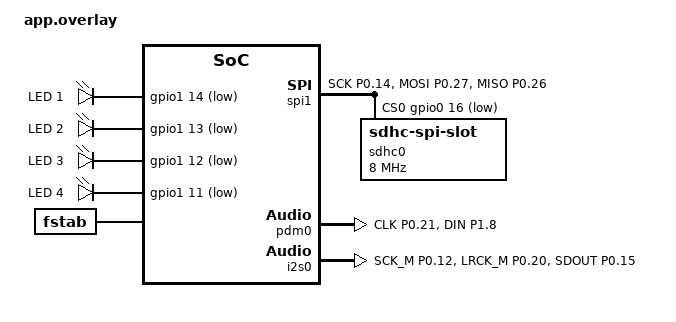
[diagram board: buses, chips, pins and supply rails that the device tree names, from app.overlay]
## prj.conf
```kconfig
CONFIG_GPIO=y
CONFIG_SPI=y
CONFIG_DISK_ACCESS=y
CONFIG_DISK_DRIVER_SDMMC=y
CONFIG_FILE_SYSTEM=y
CONFIG_FILE_SYSTEM_MKFS=y
CONFIG_FAT_FILESYSTEM_ELM=y
CONFIG_FS_FATFS_LFN=y
CONFIG_SDMMC_STACK=y
CONFIG_AUDIO=y
CONFIG_AUDIO_DMIC=y
CONFIG_I2S=y
CONFIG_I2S_NRFX=y
CONFIG_CLOCK_CONTROL_NRF=y
CONFIG_PRINTK=y
CONFIG_MAIN_STACK_SIZE=6144
CONFIG_HEAP_MEM_POOL_SIZE=8192
```

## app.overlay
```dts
#include <zephyr/dt-bindings/gpio/gpio.h>
#include <zephyr/dt-bindings/pinctrl/nrf-pinctrl.h>

/ {
	aliases {
		led0 = &led1;
		led1 = &led2;
		led2 = &led3;
		led3 = &led4;
		i2s-tx = &i2s0;
		sdhc0 = &sdhc0;
	};

	leds {
		compatible = "gpio-leds";

		led1: led_1 {
			gpios = <&gpio1 14 GPIO_ACTIVE_LOW>;
			label = "LED 1";
		};

		led2: led_2 {
			gpios = <&gpio1 13 GPIO_ACTIVE_LOW>;
			label = "LED 2";
		};

		led3: led_3 {
			gpios = <&gpio1 12 GPIO_ACTIVE_LOW>;
			label = "LED 3";
		};

		led4: led_4 {
			gpios = <&gpio1 11 GPIO_ACTIVE_LOW>;
			label = "LED 4";
		};
	};

	fstab {
		compatible = "zephyr,fstab";

		ffs1: ffs1 {
			compatible = "zephyr,fstab,fatfs";
			automount;
			disk-access;
			mount-point = "/SD:";
		};
	};
};

&pinctrl {
	spi1_default: spi1_default {
		group1 {
			psels = <NRF_PSEL(SPIM_SCK, 0, 14)>,
				<NRF_PSEL(SPIM_MOSI, 0, 27)>,
				<NRF_PSEL(SPIM_MISO, 0, 26)>;
		};
	};

	spi1_sleep: spi1_sleep {
		group1 {
			psels = <NRF_PSEL(SPIM_SCK, 0, 14)>,
				<NRF_PSEL(SPIM_MOSI, 0, 27)>,
				<NRF_PSEL(SPIM_MISO, 0, 26)>;
			low-power-enable;
		};
	};

	pdm0_default: pdm0_default {
		group1 {
			psels = <NRF_PSEL(PDM_CLK, 0, 21)>,
				<NRF_PSEL(PDM_DIN, 1, 8)>;
		};
	};

	pdm0_sleep: pdm0_sleep {
		group1 {
			psels = <NRF_PSEL(PDM_CLK, 0, 21)>,
				<NRF_PSEL(PDM_DIN, 1, 8)>;
			low-power-enable;
		};
	};

	i2s0_default: i2s0_default {
		group1 {
			psels = <NRF_PSEL(I2S_SCK_M, 0, 12)>,
				<NRF_PSEL(I2S_LRCK_M, 0, 20)>,
				<NRF_PSEL(I2S_SDOUT, 0, 15)>;
		};
	};

	i2s0_sleep: i2s0_sleep {
		group1 {
			psels = <NRF_PSEL(I2S_SCK_M, 0, 12)>,
				<NRF_PSEL(I2S_LRCK_M, 0, 20)>,
				<NRF_PSEL(I2S_SDOUT, 0, 15)>;
			low-power-enable;
		};
	};
};

&spi1 {
	status = "okay";
	pinctrl-0 = <&spi1_default>;
	pinctrl-1 = <&spi1_sleep>;
	pinctrl-names = "default", "sleep";
	cs-gpios = <&gpio0 16 GPIO_ACTIVE_LOW>;

	sdhc0: sdhc@0 {
		compatible = "zephyr,sdhc-spi-slot";
		reg = <0>;
		status = "okay";
		spi-max-frequency = <8000000>;

		mmc {
			compatible = "zephyr,sdmmc-disk";
			status = "okay";
			disk-name = "SD";
		};
	};
};

&pdm0 {
	status = "okay";
	pinctrl-0 = <&pdm0_default>;
	pinctrl-1 = <&pdm0_sleep>;
	pinctrl-names = "default", "sleep";
	clock-source = "PCLK32M_HFXO";
	queue-size = <4>;
};

&i2s0 {
	status = "okay";
	pinctrl-0 = <&i2s0_default>;
	pinctrl-1 = <&i2s0_sleep>;
	pinctrl-names = "default", "sleep";
};
```

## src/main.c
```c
#include <errno.h>
#include <stdbool.h>
#include <stdint.h>
#include <stdio.h>

#include <zephyr/kernel.h>
#include <zephyr/sys/util.h>

#include "PDM.h"
#include "Playback.h"
#include "app_config.h"
#include "led.h"

#define STARTUP_HOLD_MS 3000U
#define STATUS_BLINK_ON_MS 150U
#define STATUS_BLINK_OFF_MS 150U

typedef struct {
	uint32_t duration_ms;
	int64_t started_at;
} timed_stop_context_t;

static volatile bool blink_active;
static volatile uint8_t blinking_led;
K_THREAD_STACK_DEFINE(status_blink_stack, 512);
static struct k_thread status_blink_thread;

static void status_blink_thread_entry(void *arg1, void *arg2, void *arg3)
{
	ARG_UNUSED(arg1);
	ARG_UNUSED(arg2);
	ARG_UNUSED(arg3);

	while (1) {
		if (blink_active) {
			(void)Led_Set_Only(blinking_led, start);
			k_sleep(K_MSEC(STATUS_BLINK_ON_MS));
			(void)Led_Set_Only(blinking_led, stop);
			k_sleep(K_MSEC(STATUS_BLINK_OFF_MS));
		} else {
			k_sleep(K_MSEC(20));
		}
	}
}

static void status_blink_start(uint8_t led_number)
{
	blinking_led = led_number;
	blink_active = true;
}

static void status_blink_stop(void)
{
	blink_active = false;
	k_sleep(K_MSEC(STATUS_BLINK_OFF_MS));
}

static bool timed_stop_requested(void *context)
{
	timed_stop_context_t *timed_context = context;

	if (timed_context == NULL) {
		return false;
	}

	return (k_uptime_get() - timed_context->started_at) >= timed_context->duration_ms;
}

static int run_loopback_mode(const app_config_t *config)
{
	timed_stop_context_t context = {
		.duration_ms = config->loopback_duration_ms,
		.started_at = k_uptime_get(),
	};

	status_blink_start(2U);
	return PDM_Live_Monitor_Until(config->sampling_rate,
				      timed_stop_requested,
				      &context);
}

static int run_playback_mode(const app_config_t *config)
{
	char file_path[80];

	(void)snprintf(file_path, sizeof(file_path), "/SD:/%s", config->audio_file_name);
	status_blink_start(3U);
	return Playback_Play_Wav(file_path, config->sampling_rate);
}

static int run_record_mode(const app_config_t *config)
{
	timed_stop_context_t context = {
		.duration_ms = (uint64_t)config->recording_duration_seconds * 1000U,
		.started_at = k_uptime_get(),
	};
	char file_path[80];

	(void)snprintf(file_path, sizeof(file_path), "/SD:/%s", config->recording_file_name);
	status_blink_start(1U);
	return PDM_Record_Stereo_Wav_Until(file_path,
					   config->sampling_rate,
					   timed_stop_requested,
					   &context);
}

static int run_configured_operation(const app_config_t *config)
{
	switch (config->mode) {
	case APP_MODE_RECORD:
		return run_record_mode(config);
	case APP_MODE_PLAYBACK:
		return run_playback_mode(config);
	case APP_MODE_LOOPBACK:
		return run_loopback_mode(config);
	default:
		return -EINVAL;
	}
}

int main(void)
{
	app_config_t config;
	int ret;

	(void)k_thread_create(&status_blink_thread,
			      status_blink_stack,
			      K_THREAD_STACK_SIZEOF(status_blink_stack),
			      status_blink_thread_entry,
			      NULL,
			      NULL,
			      NULL,
			      K_LOWEST_APPLICATION_THREAD_PRIO,
			      0,
			      K_NO_WAIT);

	ret = Led_Set_All(start);
	if (ret < 0) {
		Led_Blink_Forever(4U, STATUS_BLINK_ON_MS, STATUS_BLINK_OFF_MS);
	}

	k_sleep(K_MSEC(STARTUP_HOLD_MS));

	ret = App_Config_Load(&config);
	if (ret < 0) {
		Led_Blink_Forever(4U, STATUS_BLINK_ON_MS, STATUS_BLINK_OFF_MS);
	}

	ret = run_configured_operation(&config);
	status_blink_stop();
	if (ret < 0) {
		Led_Blink_Forever(4U, STATUS_BLINK_ON_MS, STATUS_BLINK_OFF_MS);
	}

	ret = Led_Set_All(start);
	if (ret < 0) {
		Led_Blink_Forever(4U, STATUS_BLINK_ON_MS, STATUS_BLINK_OFF_MS);
	}

	while (1) {
		k_sleep(K_SECONDS(1));
	}

	return 0;
}
```

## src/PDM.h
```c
#ifndef PDM_H
#define PDM_H

#include <stdbool.h>
#include <stdint.h>

typedef bool (*pdm_stop_cb_t)(void *context);

int PDM_Record_Stereo_Wav_Until(const char *file_path,
				uint32_t sample_rate,
				pdm_stop_cb_t stop_cb,
				void *context);
int PDM_Live_Monitor_Until(uint32_t sample_rate,
			   pdm_stop_cb_t stop_cb,
			   void *context);

#endif /* PDM_H */
```

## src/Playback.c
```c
#include <errno.h>
#include <stdbool.h>
#include <stddef.h>
#include <stdint.h>
#include <string.h>

#include <zephyr/device.h>
#include <zephyr/drivers/i2s.h>
#include <zephyr/fs/fs.h>
#include <zephyr/kernel.h>
#include <zephyr/sys/util.h>

#include "Playback.h"
#include "SD.h"

#define PLAYBACK_OUTPUT_CHANNELS 2U
#define PLAYBACK_WORD_SIZE 16U
#define PLAYBACK_BLOCK_FRAMES 1024U
#define PLAYBACK_BLOCK_COUNT 4U
#define PLAYBACK_BYTES_PER_SAMPLE sizeof(int16_t)
#define PLAYBACK_BLOCK_SIZE \
	(PLAYBACK_BLOCK_FRAMES * PLAYBACK_OUTPUT_CHANNELS * PLAYBACK_BYTES_PER_SAMPLE)

K_MEM_SLAB_DEFINE_STATIC(playback_tx_slab,
			 PLAYBACK_BLOCK_SIZE,
			 PLAYBACK_BLOCK_COUNT,
			 4);

static const struct device *playback_i2s_dev;
static bool playback_initialized;
static int16_t wav_read_buffer[PLAYBACK_BLOCK_FRAMES * PLAYBACK_OUTPUT_CHANNELS];

struct wav_chunk_header {
	char id[4];
	uint32_t size;
};

struct wav_fmt_chunk {
	uint16_t format_type;
	uint16_t channels;
	uint32_t sample_rate;
	uint32_t byterate;
	uint16_t block_align;
	uint16_t bits_per_sample;
};

struct wav_info {
	uint16_t channels;
	uint32_t sample_rate;
	uint16_t bits_per_sample;
	uint32_t data_size;
};

static int playback_configure(uint32_t sample_rate)
{
	struct i2s_config i2s_cfg = {
		.word_size = PLAYBACK_WORD_SIZE,
		.channels = PLAYBACK_OUTPUT_CHANNELS,
		.format = I2S_FMT_DATA_FORMAT_I2S,
		.frame_clk_freq = sample_rate,
		.block_size = PLAYBACK_BLOCK_SIZE,
		.timeout = 2000,
		.options = I2S_OPT_FRAME_CLK_MASTER | I2S_OPT_BIT_CLK_MASTER,
		.mem_slab = &playback_tx_slab,
	};

	return i2s_configure(playback_i2s_dev, I2S_DIR_TX, &i2s_cfg);
}

static int playback_queue_block(void *tx_block, bool *started, uint32_t *queued_blocks)
{
	int ret = i2s_write(playback_i2s_dev, tx_block, PLAYBACK_BLOCK_SIZE);

	if (ret < 0) {
		k_mem_slab_free(&playback_tx_slab, tx_block);
		return ret;
	}

	*queued_blocks += 1U;
	if (!(*started) && (*queued_blocks >= 2U)) {
		ret = i2s_trigger(playback_i2s_dev, I2S_DIR_TX, I2S_TRIGGER_START);
		if (ret < 0) {
			return ret;
		}

		*started = true;
	}

	return 0;
}

static int playback_finish(bool started, uint32_t queued_blocks)
{
	int ret;

	if (!started && (queued_blocks == 0U)) {
		return 0;
	}

	if (!started) {
		ret = i2s_trigger(playback_i2s_dev, I2S_DIR_TX, I2S_TRIGGER_START);
		if (ret < 0) {
			(void)i2s_trigger(playback_i2s_dev, I2S_DIR_TX, I2S_TRIGGER_DROP);
			return ret;
		}
	}

	ret = i2s_trigger(playback_i2s_dev, I2S_DIR_TX, I2S_TRIGGER_DRAIN);
	if (ret < 0) {
		(void)i2s_trigger(playback_i2s_dev, I2S_DIR_TX, I2S_TRIGGER_DROP);
		return ret;
	}

	return 0;
}

static int wav_skip_bytes(struct fs_file_t *file, uint32_t size)
{
	if (size == 0U) {
		return 0;
	}

	return fs_seek(file, (off_t)size, FS_SEEK_CUR);
}

static int wav_parse_header(struct fs_file_t *file, struct wav_info *info)
{
	struct {
		char riff[4];
		uint32_t overall_size;
		char wave[4];
	} header;
	bool fmt_found = false;
	bool data_found = false;
	ssize_t bytes_read;

	bytes_read = fs_read(file, &header, sizeof(header));
	if (bytes_read != (ssize_t)sizeof(header)) {
		return -EIO;
	}

	if ((memcmp(header.riff, "RIFF", 4) != 0) ||
	    (memcmp(header.wave, "WAVE", 4) != 0)) {
		return -EINVAL;
	}

	memset(info, 0, sizeof(*info));

	while (!data_found) {
		struct wav_chunk_header chunk;
		int ret;

		bytes_read = fs_read(file, &chunk, sizeof(chunk));
		if (bytes_read == 0) {
			break;
		}

		if (bytes_read != (ssize_t)sizeof(chunk)) {
			return -EIO;
		}

		if (memcmp(chunk.id, "fmt ", 4) == 0) {
			struct wav_fmt_chunk fmt_chunk = {0};
			size_t bytes_to_read = MIN((size_t)chunk.size, sizeof(fmt_chunk));

			bytes_read = fs_read(file, &fmt_chunk, bytes_to_read);
			if (bytes_read != (ssize_t)bytes_to_read) {
				return -EIO;
			}

			if (chunk.size > bytes_to_read) {
				ret = wav_skip_bytes(file, chunk.size - (uint32_t)bytes_to_read);
				if (ret < 0) {
					return ret;
				}
			}

			if (fmt_chunk.format_type != 1U) {
				return -ENOTSUP;
			}

			info->channels = fmt_chunk.channels;
			info->sample_rate = fmt_chunk.sample_rate;
			info->bits_per_sample = fmt_chunk.bits_per_sample;
			fmt_found = true;
		} else if (memcmp(chunk.id, "data", 4) == 0) {
			info->data_size = chunk.size;
			data_found = true;
			break;
		} else {
			ret = wav_skip_bytes(file, chunk.size);
			if (ret < 0) {
				return ret;
			}
		}

		if ((chunk.size & 0x1U) != 0U) {
			ret = wav_skip_bytes(file, 1U);
			if (ret < 0) {
				return ret;
			}
		}
	}

	if (!fmt_found || !data_found) {
		return -EINVAL;
	}

	if ((info->sample_rate == 0U) ||
	    (info->bits_per_sample != 16U) ||
	    ((info->channels != 1U) && (info->channels != 2U))) {
		return -ENOTSUP;
	}

	return 0;
}

static void playback_convert_wav_to_stereo(int16_t *tx_block,
					   const int16_t *input_samples,
					   size_t input_frames,
					   uint16_t input_channels)
{
	size_t frame;

	if (input_channels == 2U) {
		for (frame = 0; frame < input_frames; ++frame) {
			tx_block[2U * frame] = input_samples[2U * frame];
			tx_block[(2U * frame) + 1U] = input_samples[(2U * frame) + 1U];
		}
	} else {
		for (frame = 0; frame < input_frames; ++frame) {
			tx_block[2U * frame] = input_samples[frame];
			tx_block[(2U * frame) + 1U] = input_samples[frame];
		}
	}

	for (; frame < PLAYBACK_BLOCK_FRAMES; ++frame) {
		tx_block[2U * frame] = 0;
		tx_block[(2U * frame) + 1U] = 0;
	}
}

int Playback_Init(void)
{
	if (playback_initialized) {
		return 0;
	}

	playback_i2s_dev = DEVICE_DT_GET(DT_ALIAS(i2s_tx));
	if (!device_is_ready(playback_i2s_dev)) {
		return -ENODEV;
	}

	playback_initialized = true;
	return 0;
}

int Playback_Play_Wav(const char *file_path, uint32_t sample_rate_hint)
{
	struct fs_file_t file;
	struct wav_info info;
	uint32_t data_remaining;
	uint32_t queued_blocks = 0U;
	bool started = false;
	int ret = Playback_Init();

	if (ret < 0) {
		return ret;
	}

	ret = SD_Init();
	if (ret < 0) {
		return ret;
	}

	fs_file_t_init(&file);
	ret = fs_open(&file, file_path, FS_O_READ);
	if (ret < 0) {
		return ret;
	}

	ret = wav_parse_header(&file, &info);
	if (ret < 0) {
		(void)fs_close(&file);
		return ret;
	}

	ARG_UNUSED(sample_rate_hint);

	ret = playback_configure(info.sample_rate);
	if (ret < 0) {
		(void)fs_close(&file);
		return ret;
	}

	data_remaining = info.data_size;

	while (data_remaining > 0U) {
		void *tx_block = NULL;
		uint32_t bytes_per_input_frame = info.channels * PLAYBACK_BYTES_PER_SAMPLE;
		uint32_t frames_to_read = MIN(PLAYBACK_BLOCK_FRAMES, data_remaining / bytes_per_input_frame);
		size_t bytes_to_read = frames_to_read * bytes_per_input_frame;
		ssize_t bytes_read;

		ret = k_mem_slab_alloc(&playback_tx_slab, &tx_block, K_FOREVER);
		if (ret < 0) {
			(void)fs_close(&file);
			(void)i2s_trigger(playback_i2s_dev, I2S_DIR_TX, I2S_TRIGGER_DROP);
			return ret;
		}

		bytes_read = fs_read(&file, wav_read_buffer, bytes_to_read);
		if (bytes_read < 0) {
			k_mem_slab_free(&playback_tx_slab, tx_block);
			(void)fs_close(&file);
			(void)i2s_trigger(playback_i2s_dev, I2S_DIR_TX, I2S_TRIGGER_DROP);
			return (int)bytes_read;
		}

		if (bytes_read == 0) {
			k_mem_slab_free(&playback_tx_slab, tx_block);
			break;
		}

		frames_to_read = (uint32_t)bytes_read / bytes_per_input_frame;
		playback_convert_wav_to_stereo((int16_t *)tx_block,
					       wav_read_buffer,
					       frames_to_read,
					       info.channels);

		ret = playback_queue_block(tx_block, &started, &queued_blocks);
		if (ret < 0) {
			(void)fs_close(&file);
			(void)i2s_trigger(playback_i2s_dev, I2S_DIR_TX, I2S_TRIGGER_DROP);
			return ret;
		}

		data_remaining -= (uint32_t)bytes_read;
	}

	ret = playback_finish(started, queued_blocks);
	if (ret < 0) {
		(void)fs_close(&file);
		return ret;
	}

	return fs_close(&file);
}
```

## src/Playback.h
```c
#ifndef PLAYBACK_H
#define PLAYBACK_H

#include <stdint.h>

int Playback_Init(void);
int Playback_Play_Wav(const char *file_path, uint32_t sample_rate_hint);

#endif /* PLAYBACK_H */
```
